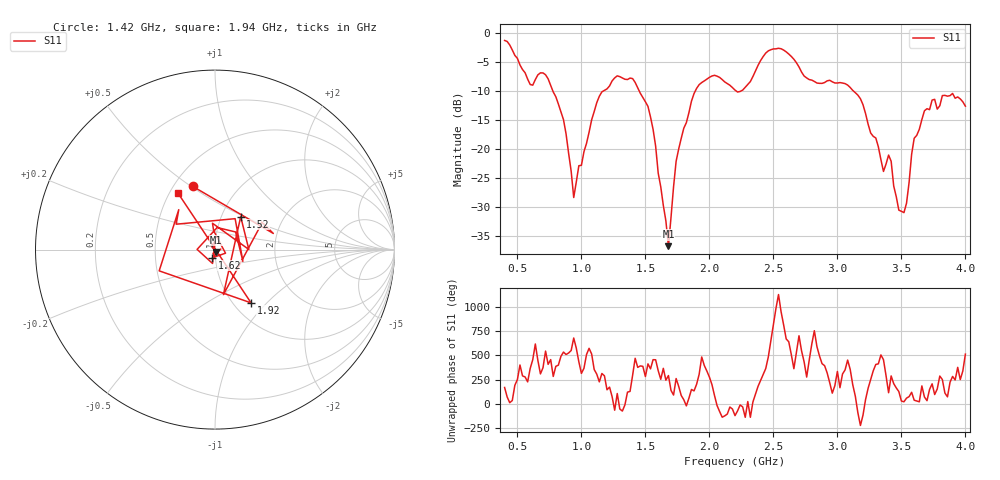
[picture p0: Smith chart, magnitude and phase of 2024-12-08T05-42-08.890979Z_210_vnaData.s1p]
!Created with skrf (http://scikit-rf.org).
# Hz S RI R 50.0
!freq ReS11 ImS11
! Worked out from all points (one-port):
!   181 points, 400 MHz to 4 GHz, reference 50 ohm
!   lowest |S11| = -36.8 dB at 1.68 GHz (marker M1), VSWR 1.03, Z = 50.5 - j1.37 ohm
!   |S11| at or under -10 dB: 777 MHz to 1.172 GHz (394.6 MHz wide, 40.5 % of centre); 1.452 GHz to 1.89 GHz (438.3 MHz wide, 26.2 % of centre); 3.125 GHz to end of sweep (the widest 3 of 4)
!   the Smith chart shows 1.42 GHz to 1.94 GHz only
!   S11 on the Smith chart (normalised r, x): 1.42 GHz: 0.62, +0.51; 1.52 GHz: 1.23, +0.48; 1.62 GHz: 0.97, -0.09; 1.92 GHz: 1.20, -0.82; 1.94 GHz: 0.56, +0.40
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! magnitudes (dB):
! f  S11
! 400 MHz  -1.3
! 600 MHz  -8.9
! 720 MHz  -7.2
! 860 MHz  -14.9
! 940 MHz  -28.4
! 1.12 GHz  -12.0
! 1.3 GHz  -7.5
! 1.42 GHz  -8.5
! 1.52 GHz  -12.7
! 1.62 GHz  -26.5
! 1.68 GHz  -36.8
! 1.76 GHz  -20.0
! 1.92 GHz  -8.9
! 1.94 GHz  -8.5
! 2.2 GHz  -9.8
! 2.46 GHz  -3.1
! 2.66 GHz  -4.5
! 2.78 GHz  -8.0
! 3.1 GHz  -9.4
! 3.2 GHz  -12.4
! 3.36 GHz  -23.9
! 3.42 GHz  -22.1
! 3.48 GHz  -30.6
! 3.52 GHz  -31.0
! 3.56 GHz  -25.8
! 3.6 GHz  -18.2
! 3.74 GHz  -11.6
! 4 GHz  -12.6
